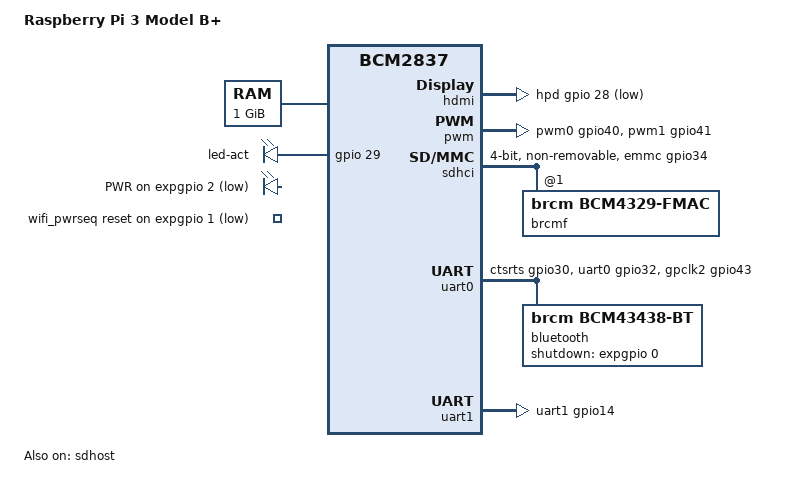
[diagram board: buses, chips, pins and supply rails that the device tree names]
// SPDX-License-Identifier: GPL-2.0
/dts-v1/;
#include "bcm2837.dtsi"
#include "bcm2836-rpi.dtsi"
#include "bcm283x-rpi-lan7515.dtsi"
#include "bcm283x-rpi-usb-host.dtsi"

/ {
	compatible = "raspberrypi,3-model-b-plus", "brcm,bcm2837";
	model = "Raspberry Pi 3 Model B+";

	chosen {
		/* 8250 auxiliary UART instead of pl011 */
		stdout-path = "serial1:115200n8";
	};

	memory@0 {
		device_type = "memory";
		reg = <0 0x40000000>;
	};

	leds {
		led-act {
			gpios = <&gpio 29 GPIO_ACTIVE_HIGH>;
		};

		led-pwr {
			label = "PWR";
			gpios = <&expgpio 2 GPIO_ACTIVE_LOW>;
			default-state = "keep";
			linux,default-trigger = "default-on";
		};
	};

	wifi_pwrseq: wifi-pwrseq {
		compatible = "mmc-pwrseq-simple";
		reset-gpios = <&expgpio 1 GPIO_ACTIVE_LOW>;
	};
};

&firmware {
	expgpio: gpio {
		compatible = "raspberrypi,firmware-gpio";
		gpio-controller;
		#gpio-cells = <2>;
		gpio-line-names = "BT_ON",
				  "WL_ON",
				  "PWR_LED_R",
				  "LAN_RUN",
				  "",
				  "CAM_GPIO0",
				  "CAM_GPIO1",
				  "";
		status = "okay";
	};
};

&gpio {
	/*
	 * Taken from rpi_SCH_3bplus_1p0_reduced.pdf and
	 * the official GPU firmware DT blob.
	 *
	 * Legend:
	 * "NC" = not connected (no rail from the SoC)
	 * "FOO" = GPIO line named "FOO" on the schematic
	 * "FOO_N" = GPIO line named "FOO" on schematic, active low
	 */
	gpio-line-names = "ID_SDA",
			  "ID_SCL",
			  "SDA1",
			  "SCL1",
			  "GPIO_GCLK",
			  "GPIO5",
			  "GPIO6",
			  "SPI_CE1_N",
			  "SPI_CE0_N",
			  "SPI_MISO",
			  "SPI_MOSI",
			  "SPI_SCLK",
			  "GPIO12",
			  "GPIO13",
			  /* Serial port */
			  "TXD1",
			  "RXD1",
			  "GPIO16",
			  "GPIO17",
			  "GPIO18",
			  "GPIO19",
			  "GPIO20",
			  "GPIO21",
			  "GPIO22",
			  "GPIO23",
			  "GPIO24",
			  "GPIO25",
			  "GPIO26",
			  "GPIO27",
			  "HDMI_HPD_N",
			  "STATUS_LED_G",
			  /* Used by BT module */
			  "CTS0",
			  "RTS0",
			  "TXD0",
			  "RXD0",
			  /* Used by Wifi */
			  "SD1_CLK",
			  "SD1_CMD",
			  "SD1_DATA0",
			  "SD1_DATA1",
			  "SD1_DATA2",
			  "SD1_DATA3",
			  "PWM0_OUT",
			  "PWM1_OUT",
			  "ETHCLK",
			  "WIFI_CLK",
			  "SDA0",
			  "SCL0",
			  "SMPS_SCL",
			  "SMPS_SDA",
			  /* Used by SD Card */
			  "SD_CLK_R",
			  "SD_CMD_R",
			  "SD_DATA0_R",
			  "SD_DATA1_R",
			  "SD_DATA2_R",
			  "SD_DATA3_R";
};

&hdmi {
	hpd-gpios = <&gpio 28 GPIO_ACTIVE_LOW>;
	power-domains = <&power RPI_POWER_DOMAIN_HDMI>;
	status = "okay";
};

&pwm {
	pinctrl-names = "default";
	pinctrl-0 = <&pwm0_gpio40 &pwm1_gpio41>;
	status = "okay";
};

/* SDHCI is used to control the SDIO for wireless */
&sdhci {
	#address-cells = <1>;
	#size-cells = <0>;
	pinctrl-names = "default";
	pinctrl-0 = <&emmc_gpio34>;
	status = "okay";
	bus-width = <4>;
	non-removable;
	mmc-pwrseq = <&wifi_pwrseq>;

	brcmf: wifi@1 {
		reg = <1>;
		compatible = "brcm,bcm4329-fmac";
	};
};

/* SDHOST is used to drive the SD card */
&sdhost {
	pinctrl-names = "default";
	pinctrl-0 = <&sdhost_gpio48>;
	status = "okay";
	bus-width = <4>;
};

/* uart0 communicates with the BT module */
&uart0 {
	pinctrl-names = "default";
	pinctrl-0 = <&uart0_ctsrts_gpio30 &uart0_gpio32 &gpclk2_gpio43>;
	status = "okay";

	bluetooth {
		compatible = "brcm,bcm43438-bt";
		max-speed = <2000000>;
		shutdown-gpios = <&expgpio 0 GPIO_ACTIVE_HIGH>;
	};
};

/* uart1 is mapped to the pin header */
&uart1 {
	pinctrl-names = "default";
	pinctrl-0 = <&uart1_gpio14>;
	status = "okay";
};
